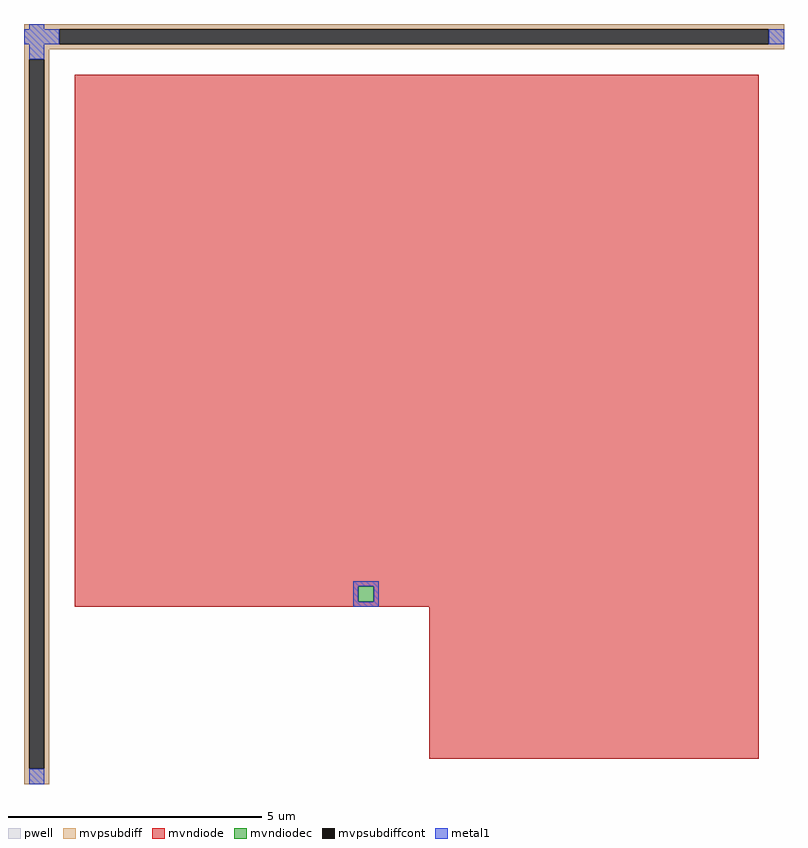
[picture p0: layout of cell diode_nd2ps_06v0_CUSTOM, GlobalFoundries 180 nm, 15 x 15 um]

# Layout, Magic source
magic
tech gf180mcuD
<< pwell >>
rect -140 110 160 120
rect -140 -180 -130 110
<< mvpsubdiff >>
rect -140 118 160 120
rect -140 112 -126 118
rect 154 112 160 118
rect -140 110 160 112
rect -140 106 -130 110
rect -140 -174 -138 106
rect -132 -174 -130 106
rect -140 -180 -130 -174
<< mvpsubdiffcont >>
rect -126 112 154 118
rect -138 -174 -132 106
<< mvndiode >>
rect -120 -102 150 100
rect -120 -108 -8 -102
rect -2 -108 150 -102
rect -120 -110 150 -108
rect 20 -170 150 -110
<< mvndiodec >>
rect -8 -108 -2 -102
<< metal1 >>
rect -138 118 -132 120
rect -140 112 -126 118
rect 154 112 160 118
rect -138 106 -132 112
rect -10 -102 0 -100
rect -10 -108 -8 -102
rect -2 -108 0 -102
rect -10 -110 0 -108
rect -138 -180 -132 -174
<< properties >>
string FIXED_BBOX -140 -180 160 120
string gencell diode_nd2ps_06v0
string library gf180mcu
string parameters w 13.5 l 13.5 area 161.25 peri 54.0 nx 1 ny 1 dummy 0 lmin 0.45 wmin 0.45 class diode elc 1 erc 1 etc 1 ebc 0 doverlap 0 full_metal 0 compatible {diode_nd2ps_03v3 diode_nd2ps_06v0}
<< end >>
